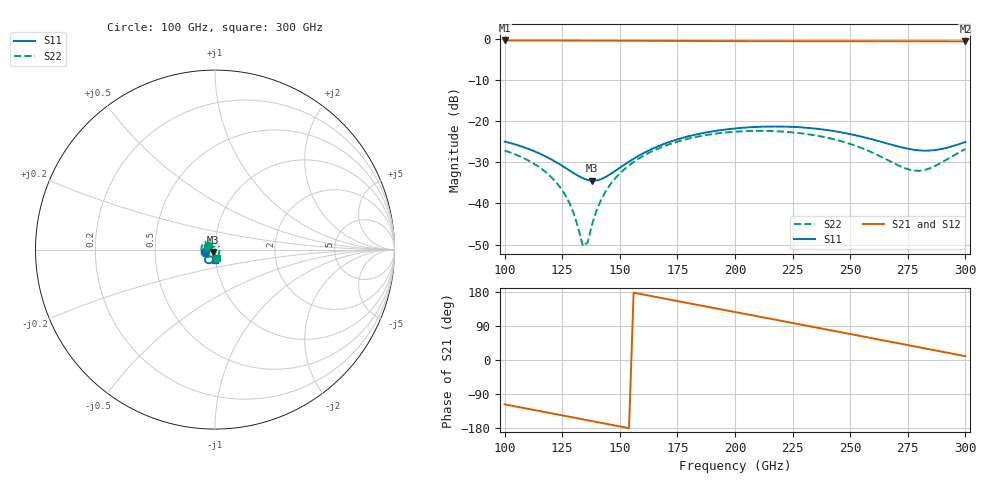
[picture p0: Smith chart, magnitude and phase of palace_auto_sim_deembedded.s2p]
! Created with skrf 1.11.0 (http://scikit-rf.org).
# GHz S DB R 50.0
!freq dBS11 angS11 dBS21 angS21 dBS12 angS12 dBS22 angS22
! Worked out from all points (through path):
!   101 points, 100 GHz to 300 GHz, reference 50 ohm
!   highest |S21| = -0.36 dB at 100 GHz (marker M1); lowest = -0.6 dB at 300 GHz (marker M2)
!   group delay of S21, straight-line fit = 3.23 ps
!   lowest |S11| = -34.5 dB at 138 GHz (marker M3), VSWR 1.04, Z = 48.7 - j1.3 ohm
!   |S11| at or under -10 dB: start of sweep to end of sweep
!   |S22| runs from -50.4 to -22.4 dB; largest |S21 - S12| = 1.1e-14
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100  -24.96 -165.3  -0.36 -117.0  -0.36 -117.0  -27.15 149.1
112  -27.10 -171.7  -0.37 -131.0  -0.37 -131.0  -30.09 130.5
122  -29.84 -171.3  -0.38 -142.6  -0.38 -142.6  -34.63 112.7
128  -31.93 -165.1  -0.38 -149.6  -0.38 -149.6  -39.72 97.1
130  -32.64 -161.3  -0.39 -152.0  -0.39 -152.0  -42.41 88.4
134  -33.90 -150.3  -0.39 -156.6  -0.39 -156.6  -50.41 36.6
136  -34.32 -143.0  -0.39 -159.0  -0.39 -159.0  -49.51 -21.9
138  -34.50 -135.1  -0.40 -161.3  -0.40 -161.3  -45.04 -51.4
142  -34.07 -119.2  -0.40 -166.0  -0.40 -166.0  -38.97 -72.7
148  -32.10 -102.3  -0.41 -173.0  -0.41 -173.0  -33.91 -87.7
156  -29.13 -93.4  -0.43 177.7  -0.43 177.7  -29.92 -102.0
168  -25.79 -93.7  -0.45 163.7  -0.45 163.7  -26.35 -121.0
184  -23.12 -102.0  -0.49 145.1  -0.49 145.1  -23.74 -145.0
200  -21.77 -112.2  -0.52 126.6  -0.52 126.6  -22.56 -168.4
218  -21.29 -123.7  -0.53 105.8  -0.53 105.8  -22.44 165.1
234  -21.75 -132.8  -0.54 87.2  -0.54 87.2  -23.38 140.0
250  -23.14 -138.8  -0.54 68.6  -0.54 68.6  -25.54 111.0
268  -25.73 -134.9  -0.55 47.6  -0.55 47.6  -29.94 62.3
276  -26.80 -126.3  -0.55 38.2  -0.55 38.2  -31.83 25.9
282  -27.16 -116.9  -0.56 31.1  -0.56 31.1  -31.91 -7.3
290  -26.72 -103.7  -0.56 21.8  -0.56 21.8  -29.94 -46.0
300  -25.07 -92.3  -0.58 10.0  -0.58 10.0  -26.78 -78.8
